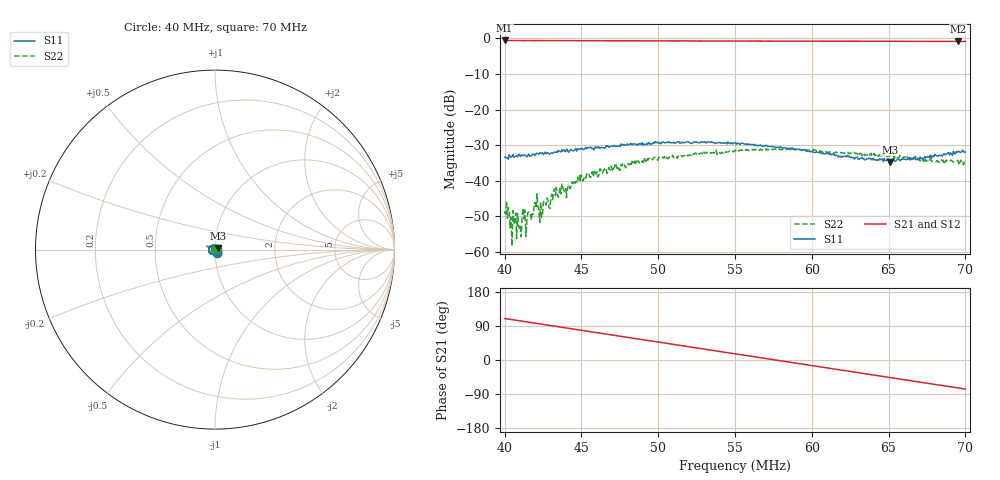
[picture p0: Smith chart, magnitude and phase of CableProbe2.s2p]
#  HZ  S  DB  R  50.00
! Rohde & Schwarz Vector Network Analyzer
! Rohde-Schwarz,ZNB8-4Port,1311601044102961,2.82
! Created: UTC 1/14/2019, 9:27:03 AM
! freq[Hz]  db:S11  ang:S11  db:S21  ang:S21  db:S12  ang:S12  db:S22  ang:S22
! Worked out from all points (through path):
!   500 points, 40 MHz to 70 MHz, reference 50 ohm
!   highest |S21| = -0.57 dB at 40 MHz (marker M1); lowest = -0.9 dB at 69.52 MHz (marker M2)
!   group delay of S21, straight-line fit = 17.2 ns
!   lowest |S11| = -34.7 dB at 65.07 MHz (marker M3), VSWR 1.04, Z = 51.6 + j0.98 ohm
!   |S11| at or under -10 dB: start of sweep to end of sweep
!   |S22| runs from -58.4 to -30.8 dB; largest |S21 - S12| = 0.0079
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4e7  -33.46 -49.6  -0.57 109.5  -0.64 109.5  -48.65 46.6
4.018036e7  -33.58 -50.1  -0.58 108.4  -0.64 108.4  -50.65 6.2
4.048096e7  -33.21 -52.7  -0.58 106.5  -0.64 106.6  -58.45 112.7
4.066132e7  -33.30 -62.5  -0.60 105.3  -0.65 105.5  -51.18 29.8
4.102204e7  -33.17 -64.2  -0.59 103.1  -0.64 103.1  -52.57 94.7
4.12024e7  -32.98 -63.4  -0.59 102.0  -0.65 102.1  -47.68 89.8
4.174349e7  -32.98 -73.6  -0.60 98.7  -0.65 98.7  -51.00 85.0
4.204409e7  -32.42 -76.4  -0.60 96.8  -0.65 96.8  -47.77 127.7
4.234469e7  -32.20 -78.9  -0.61 94.9  -0.67 95.0  -46.03 79.4
4.264529e7  -31.98 -81.8  -0.60 93.0  -0.67 93.1  -46.46 124.6
4.300601e7  -32.30 -90.8  -0.61 90.8  -0.66 90.9  -45.11 101.1
4.330661e7  -31.95 -93.1  -0.62 88.9  -0.67 89.0  -44.22 105.5
4.396794e7  -31.87 -103.0  -0.62 84.8  -0.68 84.9  -42.23 118.1
4.50501e7  -30.90 -113.2  -0.63 78.0  -0.68 78.2  -39.45 112.6
4.769539e7  -29.79 -136.0  -0.66 61.6  -0.70 61.8  -35.20 96.1
5.004008e7  -29.40 -155.2  -0.68 47.2  -0.74 47.1  -33.45 82.3
5.503006e7  -29.39 162.2  -0.72 16.2  -0.77 16.1  -31.44 55.3
6.002004e7  -31.81 112.0  -0.77 -14.8  -0.80 -14.8  -31.47 30.4
6.501002e7  -34.39 36.2  -0.81 -45.8  -0.86 -45.9  -33.13 14.9
6.507014e7  -34.74 31.2  -0.81 -46.1  -0.85 -46.3  -32.90 18.5
6.951904e7  -31.77 -37.1  -0.85 -73.7  -0.89 -73.9  -34.28 23.7
7e7  -31.98 -39.8  -0.85 -76.7  -0.90 -76.8  -34.25 30.7
